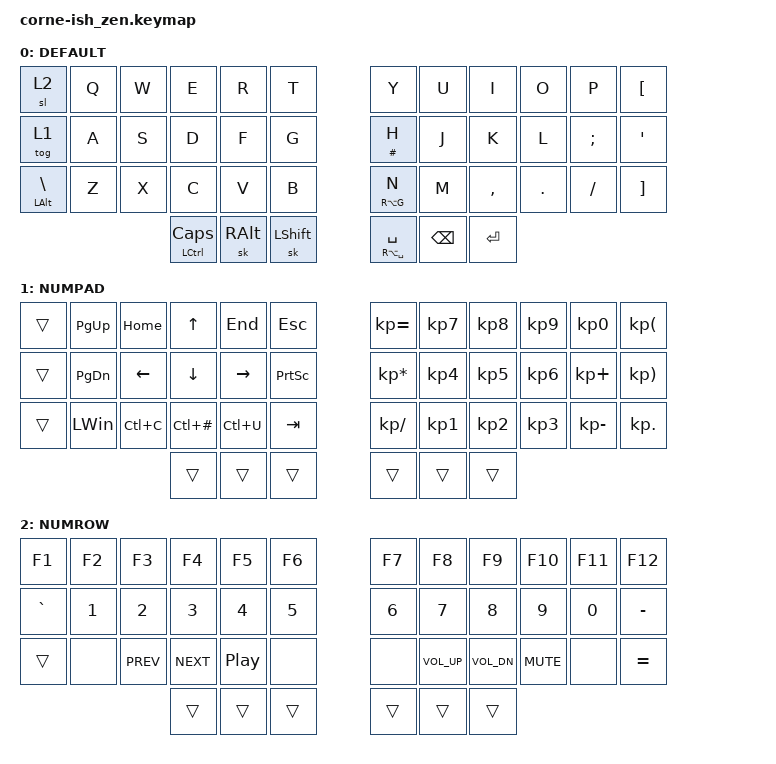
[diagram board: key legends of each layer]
/*
*
* Copyright (c) 2021 lowprokb.ca
* SPDX-License-Identifier: MIT
*
*/

#include <behaviors.dtsi>
#include <dt-bindings/zmk/keys.h>
#include <dt-bindings/zmk/bt.h>

#define DEFAULT 0
#define NUMPAD 1
#define NUMROW 2

&sk {
	release-after-ms = <2000>;
};

&sl {
	release-after-ms = <2000>;
};

&mt {
    tapping-term-ms = <150>;
};

/ {
	 behaviors {
			ht: hold_tap {
				compatible = "zmk,behavior-hold-tap";
				label = "HOLD_TAP";
				#binding-cells = <2>;
				tapping-term-ms = <150>;
				quick_tap_ms = <0>;
				flavor = "tap-preferred";
				bindings = <&kp>, <&kp>;
			};
		};
	keymap {
                compatible = "zmk,keymap";

                default_layer {
                        label = "DEFAULT";
// -----------------------------------------------------------------------------------------
//    | NUMROW |  B  |  É  |  P  |  O  |  È  |   |  ^  |  V   |  D  |  L  |  J  |  Z  |
//    | NUMPAD |  A  |  U  |  I  |  E  |  ,  |   |  C  |  T   |  S  |  R  |  N  |  M  |
//    | Ê+ALT  |  À  |  Y  |  X  |  .  |  K  |   |  ’  |  Q   |  G  |  H  |  F  |  W  |
//               | CTRL+CAPS | GRALT | LSHFT |   | SPC | BKSP | ENTER |
                        bindings = <
   &sl 2         &kp Q &kp W &kp E &kp R &kp T    &kp Y      &kp U &kp I    &kp O   &kp P     &kp LBKT
   &tog 1        &kp A &kp S &kp D &kp F &kp G    &ht HASH H &kp J &kp K    &kp L   &kp SEMI  &kp SQT
   &mt LALT BSLH &kp Z &kp X &kp C &kp V &kp B    &ht RA(G) N &kp M &kp COMMA &kp DOT &kp FSLH &kp RBKT
             &mt LCTRL CAPS &sk RALT &sk LSHFT    &ht RA(SPC) SPC &kp BSPC &kp ENTER
                        >;
                };
				
                numpad_layer {
                        label = "NUMPAD";
// -----------------------------------------------------------------------------------------
//                   | NUMROW | PUP | HOME|  ↑  | END | ESC |   |  =  |  7   |  8  |  9  |  0  |  (  |
//                   | DEFAULT| PDN |  ←  |  ↓  |  →  | PSCN|   |  *  |  4   |  5  |  6  |  +  |  )  |
//                   | Ê+ALT  | WIN | CUT | CPY | PST | TAB |   |  /  |  1   |  2  |  3  |  -  |  .  |
//                              | CTRL+CAPS | GRALT | LSHFT |   | SPC | BKSP | ENTER |
                        bindings = < 
   &trans  &kp PG_UP &kp HOME  &kp UP       &kp END   &kp ESC       &kp KP_EQUAL    &kp KP_N7 &kp KP_N8 &kp KP_N9 &kp KP_N0    &kp KP_LPAR
   &trans &kp PG_DN &kp LEFT  &kp DOWN     &kp RIGHT &kp PSCRN   &kp KP_ASTERISK &kp KP_N4 &kp KP_N5 &kp KP_N6 &kp KP_PLUS  &kp KP_RPAR
   &trans &kp LWIN  &kp LC(C) &kp LC(HASH) &kp LC(U) &kp TAB     &kp KP_SLASH    &kp KP_N1 &kp KP_N2 &kp KP_N3 &kp KP_MINUS &kp KP_DOT
                                         &trans &trans &trans    &trans &trans &trans
                        >;
                };

                chars_layer {
                        label = "NUMROW";
// -----------------------------------------------------------------------------------------
//                 |  F1  |  F2 |  F3 |  F4 |  F5 |  F6 |   |  F7 |  F8 |  F9 | F10 | F11 | F12 |
//                 |  $   |  1  |  2  |  3  |  4  |  5  |   |  6  |  7  |  8  |  9  |  0  |  =  |
//                 |Ê+ALT |     | PREV| NEXT| PLAY|     |   |     | VUP | VDWN| MUTE|     |  %  |
//                          | CTRL+CAPS | GRALT | LSHFT |   | SPC | BKSP | ENTER |
                        bindings = <
   &kp F1    &kp F2 &kp F3     &kp F4     &kp F5   &kp F6    &kp F7 &kp F8        &kp F9        &kp F10   &kp F11 &kp F12
   &kp GRAVE &kp N1 &kp N2     &kp N3     &kp N4   &kp N5    &kp N6 &kp N7        &kp N8        &kp N9    &kp N0  &kp MINUS
   &trans    &none  &kp C_PREV &kp C_NEXT &kp C_PP &none     &none  &kp C_VOL_UP  &kp C_VOL_DN  &kp C_MUTE  &none   &kp EQUAL
                                     &trans &trans &trans    &trans &trans &trans
                        >;
                };

        };
};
